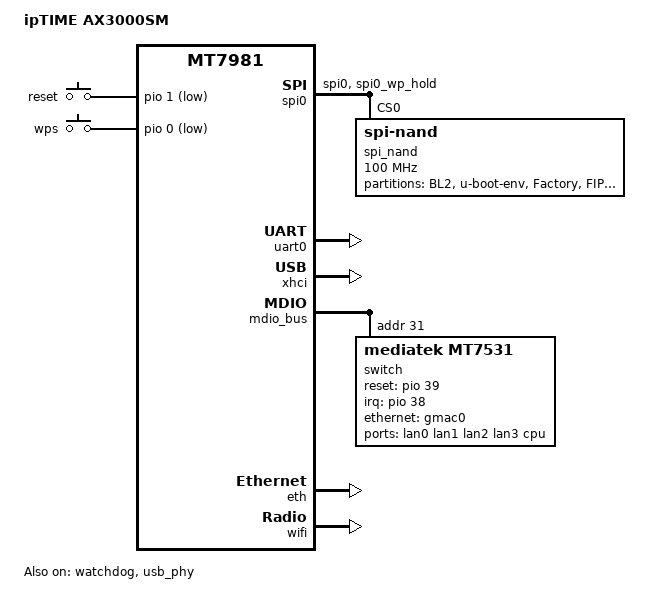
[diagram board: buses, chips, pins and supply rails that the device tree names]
// SPDX-License-Identifier: (GPL-2.0 OR MIT)

/dts-v1/;

#include "mt7981.dtsi"

/ {
	model = "ipTIME AX3000SM";
	compatible = "iptime,ax3ksm", "mediatek,mt7981-spim-snand-rfb";
	
	aliases {
		serial0 = &uart0;
	};
	
	chosen {
		bootargs-override = "console=ttyS0,115200n8 loglevel=8 earlycon=uart8250,mmio32,0x11002000";
		stdout-path = "serial0:115200n8";
	};
	
	gpio-keys {
		compatible = "gpio-keys";
		
		reset {
			label = "reset";
			gpios = <&pio 1 GPIO_ACTIVE_LOW>;
			linux,code = <KEY_RESTART>;
		};
		
		wps {
			label = "wps";
			gpios = <&pio 0 GPIO_ACTIVE_LOW>;
			linux,code = <KEY_WPS_BUTTON>;
		};
	};
};

&spi0 {
	status = "okay";
	pinctrl-names = "default";
	pinctrl-0 = <&spi0_flash_pins>;
	
	spi_nand: spi_nand@0 {
		#address-cells = <1>;
		#size-cells = <1>;
		compatible = "spi-nand";
		reg = <0>;
		
		spi-max-frequency = <100000000>;
		spi-tx-bus-width = <4>;
		spi-rx-bus-width = <4>;
		spi-cal-enable;
		spi-cal-mode = "read-data";
		spi-cal-datalen = <7>;
		spi-cal-data = /bits/ 8 <0x53 0x50 0x49 0x4E 0x41 0x4E 0x44>;
		spi-cal-addrlen = <5>;
		spi-cal-addr = /bits/ 32 <0x0 0x0 0x0 0x0 0x0>;
		
		mediatek,nmbm;
		mediatek,bmt-max-ratio = <1>;
		mediatek,bmt-max-reserved-blocks = <64>;
		
		partitions {
			compatible = "fixed-partitions";
			#address-cells = <1>;
			#size-cells = <1>;
			
			partition@0 {
				label = "BL2";
				reg = <0x00000 0x0100000>;
				read-only;
			};
			
			partition@100000 {
				label = "u-boot-env";
				reg = <0x0100000 0x080000>;
				read-only;
			};
			
			factory: partition@180000 {
				label = "Factory";
				reg = <0x180000 0x0200000>;
				read-only;
				
				nvmem-layout {
					compatible = "fixed-layout";
					#address-cells = <1>;
					#size-cells = <1>;
					
					macaddr_factory_4: macaddr@04 {
						compatible = "mac-base";
						#nvmem-cell-cells = <1>;
						reg = <0x4 0x6>;
					};
				};
			};
			
			partition@380000 {
				label = "FIP";
				reg = <0x380000 0x0200000>;
				read-only;
			};
			
			partition@580000 {
				label = "ubi";
				reg = <0x580000 0x06E00000>;
			};
		};
	};
};

&pio {
	spi0_flash_pins: spi0-pins {
		mux {
			function = "spi";
			groups = "spi0", "spi0_wp_hold";
		};
	};
};

&uart0 {
	status = "okay";
};

&watchdog {
	status = "okay";
};

&usb_phy {
	status = "okay";
};

&xhci {
	status = "okay";
};

&mdio_bus {
	#address-cells = <1>;
	#size-cells = <0>;
	
	switch@1f {
		compatible = "mediatek,mt7531";
		reg = <31>;
		reset-gpios = <&pio 39 GPIO_ACTIVE_HIGH>;
		interrupt-controller;
		#interrupt-cells = <1>;
		interrupt-parent = <&pio>;
		interrupts = <38 IRQ_TYPE_LEVEL_HIGH>;
		
		ports {
			#address-cells = <1>;
			#size-cells = <0>;
			
			port@0 {
				reg = <0>;
				label = "lan0";
			};
			
			port@1 {
				reg = <1>;
				label = "lan1";
			};
			
			port@2 {
				reg = <2>;
				label = "lan2";
			};
			
			port@3 {
				reg = <3>;
				label = "lan3";
			};
			
			// port@4 {
			// 	reg = <4>;
			// 	label = "wan";
			
			// 	nvmem-cell-names = "mac-address";
			// 	nvmem-cells = <&macaddr_factory_4 1>;
			// };
			
			port@6 {
				reg = <6>;
				label = "cpu";
				ethernet = <&gmac0>;
				phy-mode = "2500base-x";
				
				fixed-link {
					speed = <2500>;
					full-duplex;
					pause;
				};
			};
		};
	};
};

&eth {
	status = "okay";
	
	pinctrl-names = "default";
	pinctrl-0 = <&mdio_pins>;
	
	gmac0: mac@0 {
		compatible = "mediatek,eth-mac";
		reg = <0>;
		phy-mode = "2500base-x";
		nvmem-cell-names = "mac-address";
		nvmem-cells = <&macaddr_factory_4 0>;
		
		fixed-link {
			speed = <2500>;
			full-duplex;
			pause;
		};
	};
};

&wifi {
	status = "okay";
	
	mediatek,mtd-eeprom = <&factory 0x0>;
};
